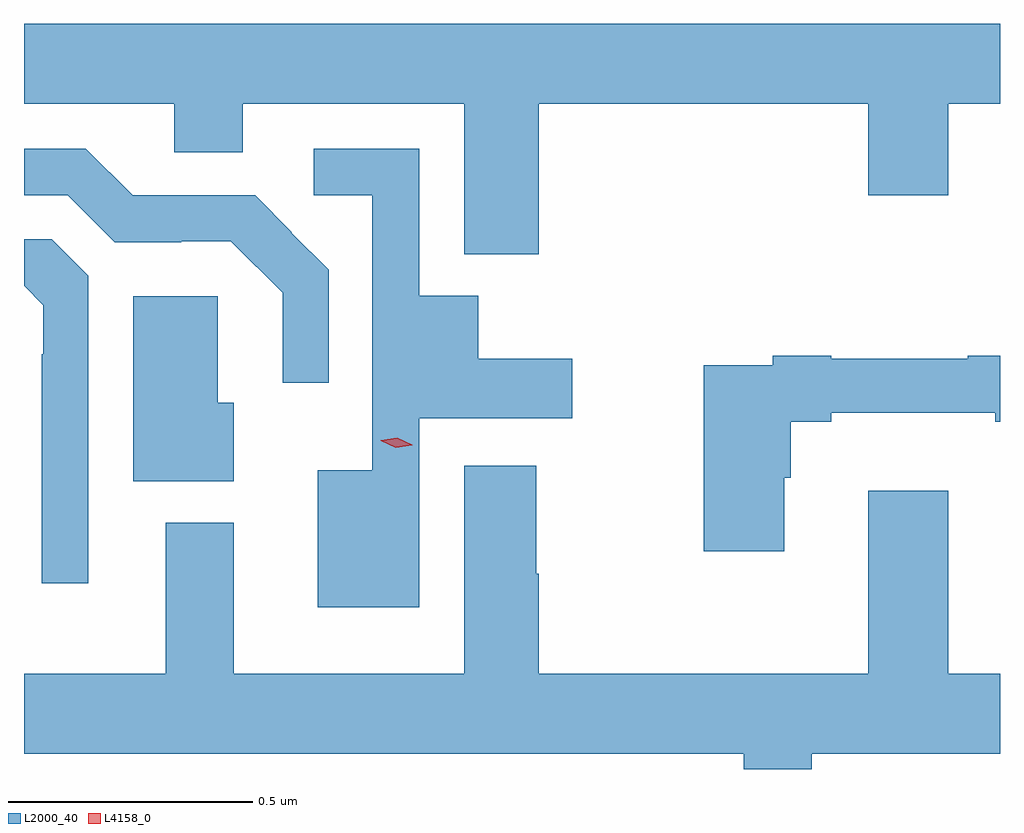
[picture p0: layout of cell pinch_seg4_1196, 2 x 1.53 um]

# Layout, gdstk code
import gdstk
lib = gdstk.Library(unit=1e-6, precision=1e-09)
def P(c, l, *ps):  # polygons
    for p in ps: c.add(gdstk.Polygon(p, *l))
L2000_40 = (2000, 40)
L4158_0 = (4158, 0)

pinch_seg4_1196 = lib.new_cell('pinch_seg4_1196')
P(pinch_seg4_1196, L2000_40, [(428.069,766.184),(428.744,766.184),(428.744,765.996),(428.908,765.996),(428.908,766.184),(429.014,766.184),(429.014,766.348),(427.014,766.348),(427.014,766.184),(427.322,766.184),(427.322,766.085),(427.462,766.085),(427.462,766.184),(427.916,766.184),(427.916,765.875),(428.069,765.875)],
  [(427.638,765.844),(427.562,765.92),(427.563,765.921),(427.488,765.996),(427.237,765.996),(427.141,766.092),(427.014,766.092),(427.014,765.996),(427.104,765.996),(427.2,765.9),(427.336,765.9),(427.336,765.902),(427.438,765.902),(427.544,765.797),(427.544,765.612),(427.638,765.612)],
  [(427.824,765.539),(428.137,765.539),(428.137,765.661),(427.945,765.661),(427.945,765.79),(427.824,765.79),(427.824,766.092),(427.608,766.092),(427.608,765.996),(427.728,765.996),(427.728,765.433),(427.616,765.433),(427.616,765.152),(427.824,765.152)],
  [(427.146,765.831),(427.071,765.906),(427.014,765.906),(427.014,765.811),(427.053,765.771),(427.053,765.671),(427.05,765.671),(427.05,765.201),(427.146,765.201)],
  [(427.444,765.571),(427.411,765.571),(427.411,765.789),(427.238,765.789),(427.238,765.41),(427.444,765.41)],
  [(428.572,765.417),(428.585,765.417),(428.585,765.532),(428.668,765.532),(428.668,765.551),(429.004,765.551),(429.004,765.532),(429.014,765.532),(429.014,765.668),(428.948,765.668),(428.948,765.661),(428.668,765.661),(428.668,765.668),(428.548,765.668),(428.548,765.648),(428.407,765.648),(428.407,765.267),(428.572,765.267)],
  [(428.628,764.852),(429.014,764.852),(429.014,765.016),(428.908,765.016),(428.908,765.391),(428.744,765.391),(428.744,765.016),(428.069,765.016),(428.069,765.221),(428.064,765.221),(428.064,765.442),(427.916,765.442),(427.916,765.016),(427.444,765.016),(427.444,765.325),(427.304,765.325),(427.304,765.016),(427.014,765.016),(427.014,764.852),(428.489,764.852),(428.489,764.82),(428.628,764.82)])
P(pinch_seg4_1196, L4158_0, [(427.776,765.479),(427.745,765.493),(427.745,765.494),(427.745,765.494),(427.779,765.499),(427.81,765.485),(427.81,765.485),(427.81,765.484)])

lib.write_gds('pinch_seg4_1196.gds')
